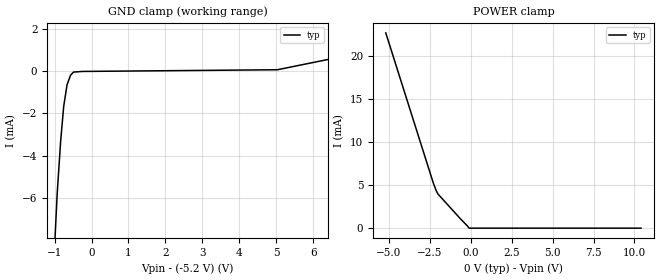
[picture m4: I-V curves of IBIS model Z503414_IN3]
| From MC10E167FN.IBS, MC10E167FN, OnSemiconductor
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| (C) COPYRIGHT 1993-2000
| MENTOR GRAPHICS CORPORATION
| ICX STANDARD LIBRARY, ICX PROJECT MODELING,
| ICX CUSTOM MODELING, ICX VENDOR MODEL
| ALL RIGHTS RESERVED.
| THE FOLLOWING ARE TRADEMARKS OR SERVICE MARKS OF
| MENTOR GRAPHICS CORPORATION:ICX (R), ICX STANDARD
| LIBRARY(R), ICX PROJECT MODELING(R), ICX CUSTOM
| MODELING(R), qualityIBIS(TM), MODELVIEWER(TM),
| AND MODELEDITOR(TM)
| ALL COPIES OF SOFTWARE, INCLUDING BUT NOT LIMITED TO
| ANY MODIFICATIONS, ENHANCEMENTS OR DERIVATIVE WORKS,
| MUST CONTAIN ALL MENTOR GRAPHICS CORPORATION'S
| NOTICES AND LEGENDS, INCLUDING THOSE EMBEDDED IN
| SOFTWARE AND THOSE AFFIXED TO SOFTWARE MEDIUM
| AND CONTAINER, AS RECEIVED FROM MENTOR GRAPHICS
| CORPORATION.
| Model Application Version 1.89 2/18/99.
[Model] Z503414_IN3
Model_type Input_ECL
Vinl = -1.480V
Vinh = -1.130V
C_comp 4.000pF NA NA
| variable typ   min   max
[Voltage Range] -5.200V NA NA
[GND Clamp Reference] -5.200V NA NA
[POWER Clamp Reference] 0.000V NA NA
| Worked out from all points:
|   GND clamp passes 1 mA (typ) near -0.69 V on its own axis
[GND Clamp]
-5.2V     -210.5mA   NA         NA
-1.09V    -11.57mA   NA         NA
-931mV    -5.823mA   NA         NA
-835mV    -3.286mA   NA         NA
-753mV    -1.662mA   NA         NA
-662mV    -642.5uA   NA         NA
-568mV    -198.7uA   NA         NA
-488mV    -49.46uA   NA         NA
-244mV    -18.27uA   NA         NA
5.03V     61.48uA    NA         NA
10.4V     1.958mA    NA         NA
[POWER Clamp]
-5.2V     22.73mA    NA         NA
-2.3V     5.288mA    NA         NA
-2.129V   4.419mA    NA         NA
-2.016V   3.987mA    NA         NA
-634.2mV  1.084mA    NA         NA
-205.2mV  247.1uA    NA         NA
-102.6mV  0A         NA         NA
10.4V     0A         NA         NA
